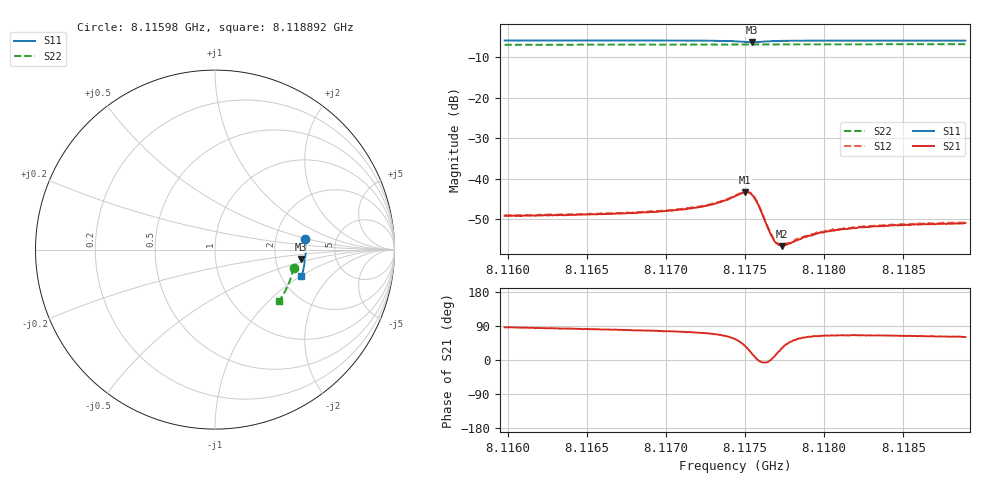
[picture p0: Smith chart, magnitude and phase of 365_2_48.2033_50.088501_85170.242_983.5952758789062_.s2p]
#  HZ  S  RI  R  50.00
! Rohde & Schwarz Vector Network Analyzer
! Rohde-Schwarz,ZNB20-2Port,1311601062101988,3.16
! Created: UTC 3/20/2024, 11:52:22 AM
! freq[Hz]  re:S11  im:S11  re:S21  im:S21  re:S12  im:S12  re:S22  im:S22
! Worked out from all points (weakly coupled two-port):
!   401 points, 8.11598 GHz to 8.118892 GHz, reference 50 ohm
!   highest |S21| = -43.31 dB at 8.117502 GHz (marker M1); lowest = -56.6 dB at 8.117735 GHz (marker M2)
!   lowest |S11| = -6.4 dB at 8.117546 GHz (marker M3), VSWR 2.85, Z = 140 - j18.8 ohm
!   |S11| at or under -10 dB: nowhere
!   |S22| runs from -7.0 to -6.8 dB; largest |S21 - S12| = 0.00018
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8.1159805e9  0.5039 0.0597  0.000236 0.00349  0.000295 0.00355  0.4374 -0.1001
8.1164682e9  0.5061 0.0229  0.000508 0.00358  0.00056 0.00365  0.4299 -0.1329
8.1169559e9  0.5056 -0.0145  0.000927 0.00384  0.000977 0.00389  0.4197 -0.1653
8.1171306e9  0.5043 -0.0286  0.0012 0.00407  0.00126 0.00419  0.4157 -0.1769
8.1172617e9  0.5023 -0.0401  0.00158 0.0044  0.00166 0.00444  0.4121 -0.1854
8.1173345e9  0.5001 -0.047  0.00204 0.00468  0.00212 0.00476  0.4102 -0.1901
8.1174364e9  0.4933 -0.0571  0.00348 0.00501  0.00357 0.0051  0.4071 -0.1967
8.1175019e9  0.4829 -0.0588  0.00551 0.00405  0.00563 0.00403  0.4048 -0.2006
8.1175237e9  0.4797 -0.056  0.00604 0.00302  0.00619 0.00301  0.4041 -0.2018
8.1175456e9  0.4784 -0.0517  0.00605 0.00167  0.00621 0.00171  0.4035 -0.2028
8.1175674e9  0.4801 -0.0475  0.00546 0.000536  0.00557 0.000486  0.4031 -0.2041
8.117582e9  0.4825 -0.0456  0.00486 -1.41e-05  0.00494 -4.18e-05  0.4028 -0.2049
8.1176475e9  0.4931 -0.0481  0.00239 -0.000183  0.00243 -0.000159  0.4014 -0.2091
8.1176766e9  0.4958 -0.0514  0.00184 0.000189  0.00187 0.000148  0.4005 -0.211
8.1176912e9  0.4966 -0.0531  0.00163 0.00035  0.00167 0.000363  0.4002 -0.2119
8.1177057e9  0.4973 -0.0547  0.00149 0.000526  0.00152 0.000522  0.3999 -0.2128
8.1177348e9  0.4981 -0.0581  0.00125 0.00079  0.00128 0.000753  0.3989 -0.2148
8.1179241e9  0.4985 -0.0763  0.000954 0.00179  0.00101 0.00179  0.3931 -0.2268
8.1179678e9  0.498 -0.08  0.000948 0.00192  0.000987 0.00195  0.3916 -0.2296
8.1181134e9  0.4963 -0.0918  0.000977 0.00217  0.00104 0.0022  0.3867 -0.2385
8.1184118e9  0.4916 -0.1145  0.00116 0.00241  0.00117 0.00243  0.3761 -0.2565
8.1188923e9  0.4817 -0.1495  0.00141 0.00249  0.0014 0.00252  0.3572 -0.2845
